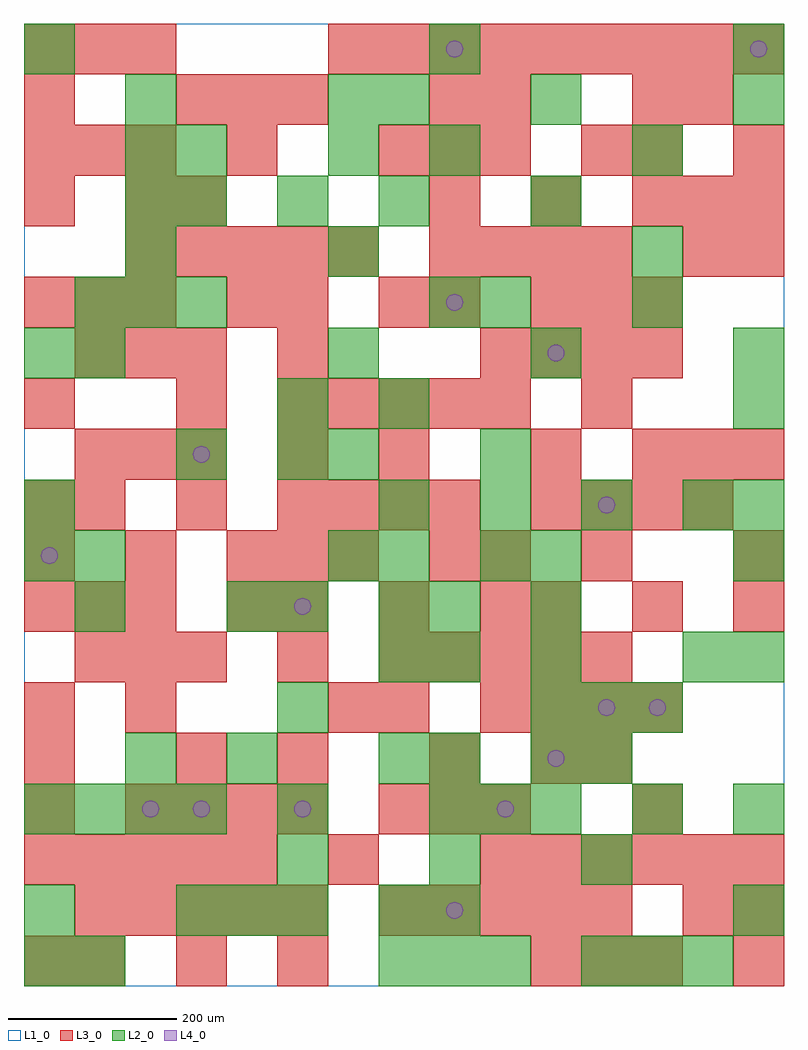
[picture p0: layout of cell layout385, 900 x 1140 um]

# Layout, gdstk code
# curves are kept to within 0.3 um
import gdstk
lib = gdstk.Library(unit=1e-6, precision=1e-09)
def R(c, l, rs):  # rectangles x0, y0, x1, y1
    for r in rs: c.add(gdstk.rectangle(r[:2], r[2:], *l))
def A(c, l, x, y, w, h, nx, ny, dx, dy):  # array of equal rectangles
    R(c, l, [(x+i*dx, y+j*dy, x+i*dx+w, y+j*dy+h) for i in range(nx) for j in range(ny)])
def P(c, l, *ps):  # polygons
    for p in ps: c.add(gdstk.Polygon(p, *l))
L1_0 = (1, 0)
L2_0 = (2, 0)
L3_0 = (3, 0)
L4_0 = (4, 0)

layout385 = lib.new_cell('layout385')
R(layout385, L1_0, [(0,0,900,1140)])
A(layout385, L2_0, 420, 0, 60, 60, 3, 1, 60, 0)
A(layout385, L2_0, 660, 0, 60, 60, 3, 1, 60, 0)
A(layout385, L2_0, 180, 60, 60, 60, 3, 1, 60, 0)
A(layout385, L2_0, 300, 120, 60, 60, 3, 1, 180, 0)
A(layout385, L2_0, 0, 180, 60, 60, 4, 1, 60, 0)
A(layout385, L2_0, 300, 180, 60, 60, 1, 3, 0, 120)
A(layout385, L2_0, 480, 180, 60, 60, 3, 1, 60, 0)
A(layout385, L2_0, 600, 300, 60, 60, 3, 1, 60, 0)
A(layout385, L2_0, 420, 360, 60, 60, 1, 3, 0, 60)
A(layout385, L2_0, 600, 360, 60, 60, 1, 3, 0, 60)
A(layout385, L2_0, 420, 540, 60, 60, 4, 1, 120, 0)
A(layout385, L2_0, 360, 720, 60, 60, 3, 1, 240, 0)
A(layout385, L2_0, 60, 780, 60, 60, 3, 1, 60, 0)
A(layout385, L2_0, 120, 840, 60, 60, 1, 4, 0, 60)
A(layout385, L2_0, 180, 900, 60, 60, 3, 1, 120, 0)
R(layout385, L2_0, [(0,0,60,60), (60,0,120,60), (0,60,60,120), (420,60,480,120), (480,60,540,120), (840,60,900,120), (720,180,780,240), (840,180,900,240), (120,240,180,300), (240,240,300,300), (420,240,480,300), (480,240,540,300), (600,240,660,300), (660,240,720,300), (480,360,540,420), (780,360,840,420), (840,360,900,420), (60,420,120,480), (240,420,300,480), (480,420,540,480), (0,480,60,540), (60,480,120,540), (360,480,420,540), (540,480,600,540), (840,480,900,540), (0,540,60,600), (840,540,900,600), (180,600,240,660), (300,600,360,660), (360,600,420,660), (540,600,600,660), (300,660,360,720), (420,660,480,720), (840,660,900,720), (0,720,60,780), (60,720,120,780), (480,780,540,840), (540,780,600,840), (720,780,780,840), (360,840,420,900), (720,840,780,900), (600,900,660,960), (180,960,240,1020), (360,960,420,1020), (480,960,540,1020), (720,960,780,1020), (360,1020,420,1080), (420,1020,480,1080), (600,1020,660,1080), (840,1020,900,1080), (0,1080,60,1140), (480,1080,540,1140), (840,1080,900,1140)])
A(layout385, L3_0, 60, 0, 60, 60, 3, 2, 120, 540)
A(layout385, L3_0, 600, 0, 60, 60, 3, 2, 60, 780)
A(layout385, L3_0, 60, 60, 60, 60, 5, 1, 60, 0)
A(layout385, L3_0, 420, 60, 60, 60, 5, 2, 60, 300)
A(layout385, L3_0, 0, 120, 60, 60, 5, 1, 60, 0)
A(layout385, L3_0, 360, 120, 60, 60, 1, 3, 0, 180)
A(layout385, L3_0, 540, 120, 60, 60, 6, 1, 60, 0)
A(layout385, L3_0, 0, 180, 60, 60, 1, 3, 0, 60)
A(layout385, L3_0, 120, 180, 60, 60, 4, 1, 60, 0)
A(layout385, L3_0, 420, 180, 60, 60, 3, 2, 60, 780)
A(layout385, L3_0, 300, 240, 60, 60, 1, 5, 0, 120)
A(layout385, L3_0, 540, 300, 60, 60, 4, 2, 60, 420)
A(layout385, L3_0, 60, 360, 60, 60, 3, 2, 60, 240)
A(layout385, L3_0, 0, 420, 60, 60, 3, 2, 60, 360)
A(layout385, L3_0, 300, 420, 60, 60, 3, 1, 120, 0)
A(layout385, L3_0, 600, 420, 60, 60, 3, 1, 120, 0)
A(layout385, L3_0, 0, 480, 60, 60, 3, 1, 120, 0)
A(layout385, L3_0, 360, 540, 60, 60, 3, 1, 60, 0)
A(layout385, L3_0, 600, 540, 60, 60, 4, 1, 60, 0)
A(layout385, L3_0, 720, 600, 60, 60, 3, 1, 60, 0)
A(layout385, L3_0, 300, 660, 60, 60, 5, 1, 60, 0)
A(layout385, L3_0, 60, 720, 60, 60, 3, 1, 60, 0)
A(layout385, L3_0, 120, 840, 60, 60, 5, 1, 60, 0)
A(layout385, L3_0, 480, 840, 60, 60, 4, 1, 60, 0)
A(layout385, L3_0, 840, 840, 60, 60, 1, 3, 0, 60)
A(layout385, L3_0, 480, 900, 60, 60, 3, 1, 120, 0)
A(layout385, L3_0, 0, 960, 60, 60, 3, 2, 60, 120)
A(layout385, L3_0, 180, 1020, 60, 60, 3, 1, 60, 0)
A(layout385, L3_0, 360, 1080, 60, 60, 9, 1, 60, 0)
R(layout385, L3_0, [(0,0,60,60), (840,0,900,60), (780,60,840,120), (840,60,900,120), (720,180,780,240), (180,240,240,300), (480,240,540,300), (600,240,660,300), (660,240,720,300), (120,300,180,360), (420,300,480,360), (240,420,300,480), (480,480,540,540), (540,480,600,540), (660,480,720,540), (840,480,900,540), (0,540,60,600), (420,600,480,660), (600,600,660,660), (0,660,60,720), (180,660,240,720), (660,660,720,720), (240,780,300,840), (300,780,360,840), (420,780,480,840), (480,780,540,840), (780,840,840,900), (0,900,60,960), (120,900,180,960), (180,900,240,960), (780,900,840,960), (240,960,300,1020), (660,960,720,1020), (720,960,780,1020), (0,1020,60,1080), (480,1020,540,1080), (540,1020,600,1080), (720,1020,780,1080), (780,1020,840,1080)])
P(layout385, L4_0, [(40,510),(39.239,513.827),(37.071,517.071),(33.827,519.239),(30,520),(26.173,519.239),(22.929,517.071),(20.761,513.827),(20,510),(20.761,506.173),(22.929,502.929),(26.173,500.761),(30,500),(33.827,500.761),(37.071,502.929),(39.239,506.173)],
  [(160,210),(159.239,213.827),(157.071,217.071),(153.827,219.239),(150,220),(146.173,219.239),(142.929,217.071),(140.761,213.827),(140,210),(140.761,206.173),(142.929,202.929),(146.173,200.761),(150,200),(153.827,200.761),(157.071,202.929),(159.239,206.173)],
  [(220,210),(219.239,213.827),(217.071,217.071),(213.827,219.239),(210,220),(206.173,219.239),(202.929,217.071),(200.761,213.827),(200,210),(200.761,206.173),(202.929,202.929),(206.173,200.761),(210,200),(213.827,200.761),(217.071,202.929),(219.239,206.173)],
  [(220,630),(219.239,633.827),(217.071,637.071),(213.827,639.239),(210,640),(206.173,639.239),(202.929,637.071),(200.761,633.827),(200,630),(200.761,626.173),(202.929,622.929),(206.173,620.761),(210,620),(213.827,620.761),(217.071,622.929),(219.239,626.173)],
  [(340,210),(339.239,213.827),(337.071,217.071),(333.827,219.239),(330,220),(326.173,219.239),(322.929,217.071),(320.761,213.827),(320,210),(320.761,206.173),(322.929,202.929),(326.173,200.761),(330,200),(333.827,200.761),(337.071,202.929),(339.239,206.173)],
  [(340,450),(339.239,453.827),(337.071,457.071),(333.827,459.239),(330,460),(326.173,459.239),(322.929,457.071),(320.761,453.827),(320,450),(320.761,446.173),(322.929,442.929),(326.173,440.761),(330,440),(333.827,440.761),(337.071,442.929),(339.239,446.173)],
  [(520,90),(519.239,93.827),(517.071,97.071),(513.827,99.239),(510,100),(506.173,99.239),(502.929,97.071),(500.761,93.827),(500,90),(500.761,86.173),(502.929,82.929),(506.173,80.761),(510,80),(513.827,80.761),(517.071,82.929),(519.239,86.173)],
  [(520,810),(519.239,813.827),(517.071,817.071),(513.827,819.239),(510,820),(506.173,819.239),(502.929,817.071),(500.761,813.827),(500,810),(500.761,806.173),(502.929,802.929),(506.173,800.761),(510,800),(513.827,800.761),(517.071,802.929),(519.239,806.173)],
  [(520,1110),(519.239,1113.827),(517.071,1117.071),(513.827,1119.239),(510,1120),(506.173,1119.239),(502.929,1117.071),(500.761,1113.827),(500,1110),(500.761,1106.173),(502.929,1102.929),(506.173,1100.761),(510,1100),(513.827,1100.761),(517.071,1102.929),(519.239,1106.173)],
  [(580,210),(579.239,213.827),(577.071,217.071),(573.827,219.239),(570,220),(566.173,219.239),(562.929,217.071),(560.761,213.827),(560,210),(560.761,206.173),(562.929,202.929),(566.173,200.761),(570,200),(573.827,200.761),(577.071,202.929),(579.239,206.173)],
  [(640,270),(639.239,273.827),(637.071,277.071),(633.827,279.239),(630,280),(626.173,279.239),(622.929,277.071),(620.761,273.827),(620,270),(620.761,266.173),(622.929,262.929),(626.173,260.761),(630,260),(633.827,260.761),(637.071,262.929),(639.239,266.173)],
  [(640,750),(639.239,753.827),(637.071,757.071),(633.827,759.239),(630,760),(626.173,759.239),(622.929,757.071),(620.761,753.827),(620,750),(620.761,746.173),(622.929,742.929),(626.173,740.761),(630,740),(633.827,740.761),(637.071,742.929),(639.239,746.173)],
  [(700,330),(699.239,333.827),(697.071,337.071),(693.827,339.239),(690,340),(686.173,339.239),(682.929,337.071),(680.761,333.827),(680,330),(680.761,326.173),(682.929,322.929),(686.173,320.761),(690,320),(693.827,320.761),(697.071,322.929),(699.239,326.173)],
  [(700,570),(699.239,573.827),(697.071,577.071),(693.827,579.239),(690,580),(686.173,579.239),(682.929,577.071),(680.761,573.827),(680,570),(680.761,566.173),(682.929,562.929),(686.173,560.761),(690,560),(693.827,560.761),(697.071,562.929),(699.239,566.173)],
  [(760,330),(759.239,333.827),(757.071,337.071),(753.827,339.239),(750,340),(746.173,339.239),(742.929,337.071),(740.761,333.827),(740,330),(740.761,326.173),(742.929,322.929),(746.173,320.761),(750,320),(753.827,320.761),(757.071,322.929),(759.239,326.173)],
  [(880,1110),(879.239,1113.827),(877.071,1117.071),(873.827,1119.239),(870,1120),(866.173,1119.239),(862.929,1117.071),(860.761,1113.827),(860,1110),(860.761,1106.173),(862.929,1102.929),(866.173,1100.761),(870,1100),(873.827,1100.761),(877.071,1102.929),(879.239,1106.173)])

lib.write_gds('layout385.gds')
